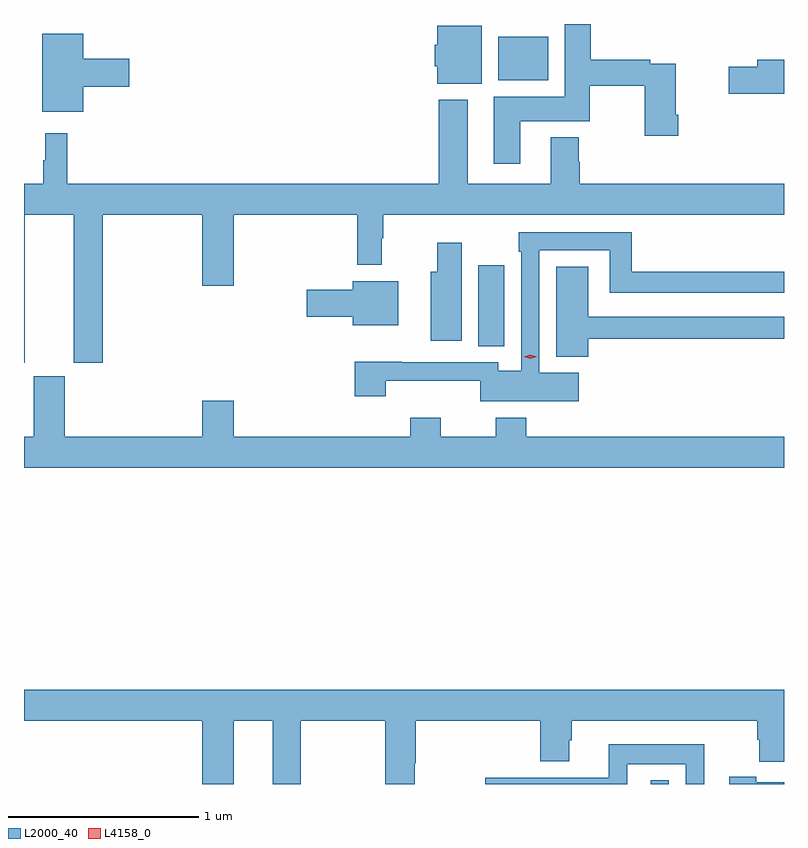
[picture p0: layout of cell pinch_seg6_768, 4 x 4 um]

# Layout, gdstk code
import gdstk
lib = gdstk.Library(unit=1e-6, precision=1e-09)
def R(c, l, rs):  # rectangles x0, y0, x1, y1
    for r in rs: c.add(gdstk.rectangle(r[:2], r[2:], *l))
def P(c, l, *ps):  # polygons
    for p in ps: c.add(gdstk.Polygon(p, *l))
L2000_40 = (2000, 40)
L4158_0 = (4158, 0)

pinch_seg6_768 = lib.new_cell('pinch_seg6_768')
R(pinch_seg6_768, L2000_40, [(251.283,956.328,251.379,956.347), (250.376,958.633,250.513,959.059), (250.481,960.032,250.744,960.262)])
P(pinch_seg6_768, L2000_40, [(250.597,959.816),(250.962,959.816),(250.962,960.004),(251.251,960.004),(251.251,959.739),(251.429,959.739),(251.429,959.851),(251.416,959.851),(251.416,960.12),(251.282,960.12),(251.282,960.14),(250.967,960.14),(250.967,960.328),(250.832,960.328),(250.832,959.944),(250.457,959.944),(250.457,959.592),(250.597,959.592)],
  [(250.393,960.319),(250.16,960.319),(250.16,960.219),(250.148,960.219),(250.148,960.105),(250.16,960.105),(250.16,960.014),(250.393,960.014)],
  [(248.296,959.999),(248.539,959.999),(248.539,960.146),(248.296,960.146),(248.296,960.277),(248.081,960.277),(248.081,959.867),(248.296,959.867)],
  [(251.985,960.14),(251.843,960.14),(251.843,960.104),(251.694,960.104),(251.694,959.962),(251.985,959.962)],
  [(247.99,959.324),(248.246,959.324),(248.246,958.545),(248.399,958.545),(248.399,959.324),(248.924,959.324),(248.924,958.95),(249.088,958.95),(249.088,959.324),(249.739,959.324),(249.739,959.061),(249.868,959.061),(249.868,959.201),(249.875,959.201),(249.875,959.324),(251.985,959.324),(251.985,959.488),(250.91,959.488),(250.91,959.604),(250.905,959.604),(250.905,959.731),(250.757,959.731),(250.757,959.488),(250.321,959.488),(250.321,959.929),(250.169,959.929),(250.169,959.488),(248.213,959.488),(248.213,959.752),(248.096,959.752),(248.096,959.612),(248.085,959.612),(248.085,959.488),(247.985,959.488),(247.985,958.545),(247.99,958.545)],
  [(250.906,958.492),(250.698,958.492),(250.698,959.136),(251.067,959.136),(251.067,958.914),(251.985,958.914),(251.985,959.023),(251.183,959.023),(251.183,959.232),(250.59,959.232),(250.59,959.129),(250.602,959.129),(250.602,958.504),(250.482,958.504),(250.482,958.548),(249.973,958.548),(249.973,958.55),(249.725,958.55),(249.725,958.368),(249.89,958.368),(249.89,958.451),(250.386,958.451),(250.386,958.343),(250.906,958.343)],
  [(250.288,959.176),(250.159,959.176),(250.159,959.023),(250.127,959.023),(250.127,958.662),(250.288,958.662)],
  [(250.954,958.672),(251.985,958.672),(251.985,958.788),(250.954,958.788),(250.954,959.051),(250.787,959.051),(250.787,958.577),(250.954,958.577)],
  [(249.955,958.975),(249.716,958.975),(249.716,958.929),(249.474,958.929),(249.474,958.787),(249.716,958.787),(249.716,958.742),(249.955,958.742)],
  [(251.985,958.156),(250.628,958.156),(250.628,958.255),(250.468,958.255),(250.468,958.156),(250.179,958.156),(250.179,958.255),(250.019,958.255),(250.019,958.156),(249.088,958.156),(249.088,958.345),(248.924,958.345),(248.924,958.156),(248.2,958.156),(248.2,958.473),(248.036,958.473),(248.036,958.156),(247.985,958.156),(247.985,957.992),(251.985,957.992)],
  [(249.088,956.66),(249.293,956.66),(249.293,956.328),(249.441,956.328),(249.441,956.66),(249.886,956.66),(249.886,956.328),(250.041,956.328),(250.041,956.438),(250.046,956.438),(250.046,956.66),(250.703,956.66),(250.703,956.447),(250.855,956.447),(250.855,956.559),(250.868,956.559),(250.868,956.66),(251.843,956.66),(251.843,956.561),(251.855,956.561),(251.855,956.445),(251.985,956.445),(251.985,956.824),(247.985,956.824),(247.985,956.66),(248.924,956.66),(248.924,956.328),(249.088,956.328)],
  [(251.16,956.432),(251.469,956.432),(251.469,956.328),(251.566,956.328),(251.566,956.536),(251.063,956.536),(251.063,956.362),(250.413,956.362),(250.413,956.328),(251.16,956.328)],
  [(251.985,956.338),(251.838,956.338),(251.838,956.365),(251.696,956.365),(251.696,956.328),(251.985,956.328)])
P(pinch_seg6_768, L4158_0, [(250.649,958.567),(250.614,958.577),(250.614,958.577),(250.614,958.578),(250.649,958.587),(250.684,958.578),(250.684,958.577),(250.684,958.577)])

lib.write_gds('pinch_seg6_768.gds')
